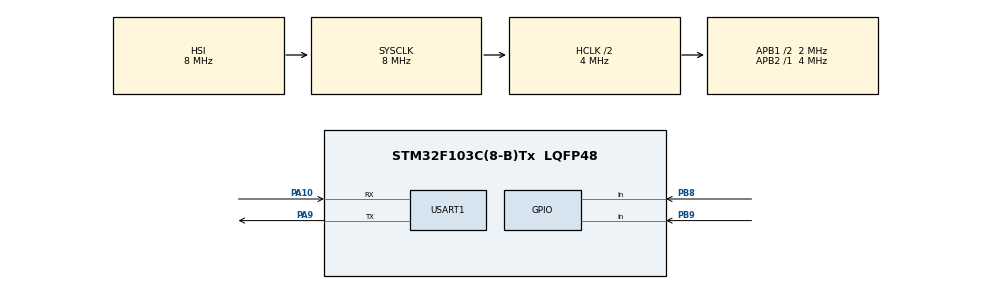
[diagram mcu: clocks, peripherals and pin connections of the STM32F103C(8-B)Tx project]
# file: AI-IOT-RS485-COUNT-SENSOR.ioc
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Mcu.Family=STM32F1
Mcu.Name=STM32F103C(8-B)Tx
Mcu.Package=LQFP48
NVIC.PriorityGroup=NVIC_PRIORITYGROUP_4
NVIC.USART1_IRQn=true\:1\:0\:true\:false\:true\:true
PA10.Mode=Asynchronous
PA10.Signal=USART1_RX
PA13.Mode=Serial_Wire
PA13.Signal=SYS_JTMS-SWDIO
PA14.Mode=Serial_Wire
PA14.Signal=SYS_JTCK-SWCLK
PA9.Mode=Asynchronous
PA9.Signal=USART1_TX
PB8.GPIO_Mode=GPIO_MODE_INPUT
PB8.GPIO_PuPd=GPIO_NOPULL
PB8.Signal=GPIO_Input
PB9.GPIO_Mode=GPIO_MODE_INPUT
PB9.GPIO_PuPd=GPIO_NOPULL
PB9.Signal=GPIO_Input
PD0-OSC_IN.Mode=HSE-External-Oscillator
PD0-OSC_IN.Signal=RCC_OSC_IN
PD1-OSC_OUT.Mode=HSE-External-Oscillator
PD1-OSC_OUT.Signal=RCC_OSC_OUT
ProjectManager.HeapSize=0x200
ProjectManager.StackSize=0x400
ProjectManager.TargetToolchain=MDK-ARM V5
RCC.AHBCLKDivider=RCC_SYSCLK_DIV2
RCC.AHBFreq_Value=4000000
RCC.APB1CLKDivider=RCC_HCLK_DIV2
RCC.APB1Freq_Value=2000000
RCC.APB1TimFreq_Value=4000000
RCC.APB2Freq_Value=4000000
RCC.APB2TimFreq_Value=4000000
RCC.HCLKFreq_Value=4000000
RCC.SYSCLKFreq_VALUE=8000000
RCC.USBFreq_Value=8000000
USART1.VirtualMode=VM_ASYNC
board=custom

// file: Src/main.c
/**
  ******************************************************************************
  * @file           : main.c
  * @brief          : Main program body
  ******************************************************************************
  ** This notice applies to any and all portions of this file
  * that are not between comment pairs USER CODE BEGIN and
  * USER CODE END. Other portions of this file, whether
  * inserted by the user or by software development tools
  * are owned by their respective copyright owners.
  *
  * COPYRIGHT(c) 2019 STMicroelectronics
  *
  * Redistribution and use in source and binary forms, with or without modification,
  * are permitted provided that the following conditions are met:
  *   1. Redistributions of source code must retain the above copyright notice,
  *      this list of conditions and the following disclaimer.
  *   2. Redistributions in binary form must reproduce the above copyright notice,
  *      this list of conditions and the following disclaimer in the documentation
  *      and/or other materials provided with the distribution.
  *   3. Neither the name of STMicroelectronics nor the names of its contributors
  *      may be used to endorse or promote products derived from this software
  *      without specific prior written permission.
  *
  * THIS SOFTWARE IS PROVIDED BY THE COPYRIGHT HOLDERS AND CONTRIBUTORS "AS IS"
  * AND ANY EXPRESS OR IMPLIED WARRANTIES, INCLUDING, BUT NOT LIMITED TO, THE
  * IMPLIED WARRANTIES OF MERCHANTABILITY AND FITNESS FOR A PARTICULAR PURPOSE ARE
  * DISCLAIMED. IN NO EVENT SHALL THE COPYRIGHT HOLDER OR CONTRIBUTORS BE LIABLE
  * FOR ANY DIRECT, INDIRECT, INCIDENTAL, SPECIAL, EXEMPLARY, OR CONSEQUENTIAL
  * DAMAGES (INCLUDING, BUT NOT LIMITED TO, PROCUREMENT OF SUBSTITUTE GOODS OR
  * SERVICES; LOSS OF USE, DATA, OR PROFITS; OR BUSINESS INTERRUPTION) HOWEVER
  * CAUSED AND ON ANY THEORY OF LIABILITY, WHETHER IN CONTRACT, STRICT LIABILITY,
  * OR TORT (INCLUDING NEGLIGENCE OR OTHERWISE) ARISING IN ANY WAY OUT OF THE USE
  * OF THIS SOFTWARE, EVEN IF ADVISED OF THE POSSIBILITY OF SUCH DAMAGE.
  *
  ******************************************************************************
  */
#include "main.h"
#include "stm32f1xx_hal.h"

/* USER CODE BEGIN Includes */

uint8_t flag_value_1, flag_value_2;
uint32_t value_out=0, last_value_out=0;
uint32_t time_start_value1, time_start_value2;

#define TIME_WAIT 500

#include "ObitString.h"
/* USER CODE END Includes */

UART_HandleTypeDef huart1;

/* USER CODE BEGIN PV */
/* Private variables ---------------------------------------------------------*/

/* USER CODE END PV */

void SystemClock_Config(void);
static void MX_GPIO_Init(void);
static void MX_USART1_UART_Init(void);

/* USER CODE BEGIN PFP */
/* Private function prototypes -----------------------------------------------*/

/* USER CODE END PFP */

/* USER CODE BEGIN 0 */

//#ifdef __GNUC__
// /* With GCC/RAISONANCE, small printf (option LD Linker->Libraries->Small printf
// set to 'Yes') calls __io_putchar() */
// #define PUTCHAR_PROTOTYPE int __io_putchar(int ch)
//#else
// #define PUTCHAR_PROTOTYPE int fputc(int ch, FILE *f)
//#endif /* __GNUC__ */
//
// /**
// * @brief Retargets the C library printf function to the USART.
// * @param None
// * @retval None
// */
//PUTCHAR_PROTOTYPE
//{
// /* Place your implementation of fputc here */
// /* e.g. write a character to the USART */
// HAL_UART_Transmit(&huart1, (uint8_t *)&ch, 1, 100);

// return ch;
//}

#define RFID_UART_BUFFER_MAX_SIZE      128
uint8_t RFID_UartBuffer[RFID_UART_BUFFER_MAX_SIZE];
uint16_t RFID_UartRxIndex;
uint32_t RFID_UartLastTime;
uint8_t  RFID_DataBuff;

uint8_t val[3];
void SendData(uint8_t data)
{

	val[0] = data/100 +48;
	val[1]= data%100/10 +48;
	val[2]= data%10 +48;
	HAL_UART_Transmit(&huart1,(uint8_t*)"product11=",10,1);
	HAL_UART_Transmit(&huart1, val,3,1);
	HAL_UART_Transmit(&huart1,(uint8_t*)"\r\n",2,1);
}

void HAL_UART_RxCpltCallback(UART_HandleTypeDef *huart)
{
  if(huart->Instance==huart1.Instance)
  {
    RFID_UartLastTime = HAL_GetTick();
	  RFID_UartBuffer[RFID_UartRxIndex] = 0; // clear
	  RFID_UartBuffer[RFID_UartRxIndex] = RFID_DataBuff;
	  if(RFID_UartRxIndex < RFID_UART_BUFFER_MAX_SIZE - 1)
		 {
			RFID_UartRxIndex++;
		 }
		else
		{
			RFID_UartRxIndex=0;
		  memset((char*)RFID_UartBuffer,0,RFID_UART_BUFFER_MAX_SIZE);
		}
		HAL_UART_Receive_IT(&huart1,&RFID_DataBuff,1);
  }
}

void CheckQuestionFromMaster( uint8_t *content_question, uint16_t content_question_length)
{
	if(obit_strcmp(content_question,content_question_length,RFID_UartBuffer,RFID_UartRxIndex) == 1)
	{
		RFID_UartRxIndex=0;
		memset((char*)RFID_UartBuffer,0,RFID_UART_BUFFER_MAX_SIZE);
		HAL_Delay(10);
		SendData((uint8_t)value_out);
		if(value_out>0) last_value_out = value_out;
		value_out=0;
	}
}

void CountSensor()
{
	if((HAL_GPIO_ReadPin(GPIOB,GPIO_PIN_8)==0)&&(flag_value_1 == 0))
	  {
		 flag_value_1 = 1;
		 time_start_value1 = HAL_GetTick();
	  }
	 if(((HAL_GPIO_ReadPin(GPIOB,GPIO_PIN_8)==1))&&(flag_value_1 == 1))
	 {
		 flag_value_1 = 0;
		 if((HAL_GetTick() - time_start_value1) > TIME_WAIT)
		 {
			 value_out++;
		 }
	 }
	 //////////////////////////////////////////////////

	 if((HAL_GPIO_ReadPin(GPIOB,GPIO_PIN_9)==0)&&(flag_value_2 == 0))
	  {
		 flag_value_2 = 1;
		 time_start_value1 = HAL_GetTick();
	  }
	 if(((HAL_GPIO_ReadPin(GPIOB,GPIO_PIN_9)==1))&&(flag_value_2 == 1))
	 {
		 flag_value_2 = 0;
		 if((HAL_GetTick() - time_start_value1) > TIME_WAIT)
		 {
			 value_out++;
		 }
	 }

}

/* USER CODE END 0 */

int main(void)
{

  /* MCU Configuration----------------------------------------------------------*/

  /* Reset of all peripherals, Initializes the Flash interface and the Systick. */
  HAL_Init();

  /* Configure the system clock */
  SystemClock_Config();

  /* Initialize all configured peripherals */
  MX_GPIO_Init();
  MX_USART1_UART_Init();
  /* USER CODE BEGIN 2 */
	//printf(" system init \r\n lightbolt \r\n count sensor rs485 \r\n by Tien Thinh 0981762826 \r\n");
  HAL_UART_Receive_IT(&huart1,&RFID_DataBuff,1);
  /* USER CODE END 2 */

  /* Infinite loop */
  /* USER CODE BEGIN WHILE */
  while (1)
  {
   CheckQuestionFromMaster((uint8_t*)"@dv=product11",strlen("@dv=product11"));
	 CountSensor();
  /* USER CODE END WHILE */

  }

}

void SystemClock_Config(void)
{

  RCC_OscInitTypeDef RCC_OscInitStruct;
  RCC_ClkInitTypeDef RCC_ClkInitStruct;

    /**Initializes the CPU, AHB and APB busses clocks
    */
  RCC_OscInitStruct.OscillatorType = RCC_OSCILLATORTYPE_HSI;
  RCC_OscInitStruct.HSIState = RCC_HSI_ON;
  RCC_OscInitStruct.HSICalibrationValue = 16;
  RCC_OscInitStruct.PLL.PLLState = RCC_PLL_NONE;
  if (HAL_RCC_OscConfig(&RCC_OscInitStruct) != HAL_OK)
  {
    _Error_Handler(__FILE__, __LINE__);
  }

    /**Initializes the CPU, AHB and APB busses clocks
    */
  RCC_ClkInitStruct.ClockType = RCC_CLOCKTYPE_HCLK|RCC_CLOCKTYPE_SYSCLK
                              |RCC_CLOCKTYPE_PCLK1|RCC_CLOCKTYPE_PCLK2;
  RCC_ClkInitStruct.SYSCLKSource = RCC_SYSCLKSOURCE_HSI;
  RCC_ClkInitStruct.AHBCLKDivider = RCC_SYSCLK_DIV2;
  RCC_ClkInitStruct.APB1CLKDivider = RCC_HCLK_DIV2;
  RCC_ClkInitStruct.APB2CLKDivider = RCC_HCLK_DIV1;

  if (HAL_RCC_ClockConfig(&RCC_ClkInitStruct, FLASH_LATENCY_0) != HAL_OK)
  {
    _Error_Handler(__FILE__, __LINE__);
  }

    /**Configure the Systick interrupt time
    */
  HAL_SYSTICK_Config(HAL_RCC_GetHCLKFreq()/1000);

    /**Configure the Systick
    */
  HAL_SYSTICK_CLKSourceConfig(SYSTICK_CLKSOURCE_HCLK);

  /* SysTick_IRQn interrupt configuration */
  HAL_NVIC_SetPriority(SysTick_IRQn, 0, 0);
}

/* USART1 init function */
static void MX_USART1_UART_Init(void)
{

  huart1.Instance = USART1;
  huart1.Init.BaudRate = 115200;
  huart1.Init.WordLength = UART_WORDLENGTH_8B;
  huart1.Init.StopBits = UART_STOPBITS_1;
  huart1.Init.Parity = UART_PARITY_NONE;
  huart1.Init.Mode = UART_MODE_TX_RX;
  huart1.Init.HwFlowCtl = UART_HWCONTROL_NONE;
  huart1.Init.OverSampling = UART_OVERSAMPLING_16;
  if (HAL_UART_Init(&huart1) != HAL_OK)
  {
    _Error_Handler(__FILE__, __LINE__);
  }

}

/** Configure pins as
        * Analog
        * Input
        * Output
        * EVENT_OUT
        * EXTI
*/
static void MX_GPIO_Init(void)
{

  GPIO_InitTypeDef GPIO_InitStruct;

  /* GPIO Ports Clock Enable */
  __HAL_RCC_GPIOD_CLK_ENABLE();
  __HAL_RCC_GPIOA_CLK_ENABLE();
  __HAL_RCC_GPIOB_CLK_ENABLE();

  /*Configure GPIO pins : PB8 PB9 */
  GPIO_InitStruct.Pin = GPIO_PIN_8|GPIO_PIN_9;
  GPIO_InitStruct.Mode = GPIO_MODE_INPUT;
  GPIO_InitStruct.Pull = GPIO_NOPULL;
  HAL_GPIO_Init(GPIOB, &GPIO_InitStruct);

}

void _Error_Handler(char *file, int line)
{
  while(1)
  {
  }
}

/************************ (C) COPYRIGHT STMicroelectronics *****END OF FILE****/
